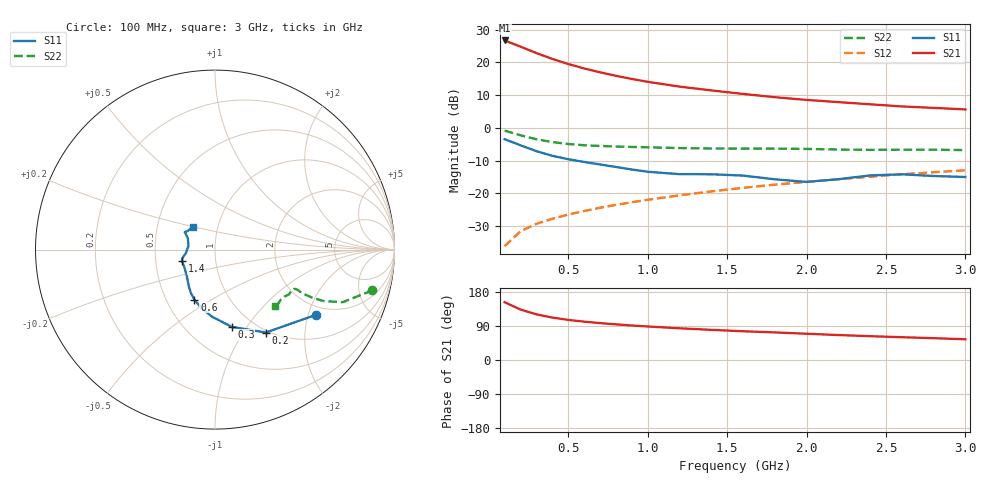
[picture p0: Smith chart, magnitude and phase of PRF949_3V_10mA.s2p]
! Philips part #:  PRF949  Date:  Dec 1999
! Bias condition:  Vce=3V, Ic=10mA
#  MHz  S  MA  R 50
! Freq  S11  S21  S12  S22  :
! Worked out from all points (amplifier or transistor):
!   20 points, 100 MHz to 3 GHz, reference 50 ohm
!   highest |S21| = 26.7 dB at 100 MHz (marker M1)
!   |S21| within 3 dB of that: start of sweep to 256.8 MHz
!   unconditionally stable (mu >= 1): 1.001 GHz to end of sweep
!   at 400 MHz: K = 0.72, MSG = 24.4 dB, |S12| = -27.8 dB
!   at 1.2 GHz: K = 1.03, MAG = 15.5 dB, |S12| = -20.6 dB
!   at 3 GHz: K = 1.04, MAG = 8.0 dB, |S12| = -13.0 dB
!   S11 on the Smith chart (normalised r, x): 100 MHz: 1.71, -2.25; 200 MHz: 0.97, -1.27; 300 MHz: 0.80, -0.85; 600 MHz: 0.69, -0.42; 1.4 GHz: 0.68, -0.09; 3 GHz: 0.76, +0.20
100  0.6707 -32.8  21.53 152.5  0.01562 75.0  0.9055 -14.5
200  0.5416 -58.5  17.32 133.2  0.02637 67.7  0.7696 -22.4
300  0.4397 -77.9  13.82 120.5  0.03427 65.4  0.6695 -25.4
400  0.3742 -92.5  11.26 112.0  0.04093 65.6  0.6053 -26.3
500  0.3317 -103.8  9.411 105.9  0.04739 66.8  0.5663 -26.5
600  0.3015 -112.4  8.062 101.2  0.05372 68.2  0.5424 -26.4
700  0.2761 -119.2  7.029 97.4  0.06016 69.4  0.528 -26.3
800  0.2527 -125.1  6.224 94.1  0.06659 70.6  0.5186 -26.1
900  0.2312 -131.1  5.565 91.1  0.07308 71.6  0.5108 -26.0
1000  0.2136 -137.6  5.038 88.5  0.07968 72.5  0.504 -25.9
1200  0.1964 -151.1  4.255 83.7  0.09318 73.6  0.4911 -26.5
1400  0.1955 -160.7  3.725 79.6  0.107 74.3  0.4833 -28.1
1600  0.1866 -165.8  3.288 75.9  0.1213 75.0  0.4825 -30.0
1800  0.1638 -173.0  2.933 72.8  0.1356 75.2  0.4819 -31.2
2000  0.1493 172.0  2.665 69.3  0.1497 75.4  0.476 -32.3
2200  0.1644 157.1  2.466 65.9  0.164 75.4  0.4661 -34.3
2400  0.1877 151.4  2.285 62.8  0.1793 75.1  0.4607 -37.2
2600  0.1952 149.9  2.12 60.1  0.1956 74.9  0.4627 -39.8
2800  0.1838 145.6  2.014 57.6  0.2097 74.8  0.4633 -41.6
3000  0.1776 134.4  1.908 54.7  0.2248 74.7  0.4571 -43.2
